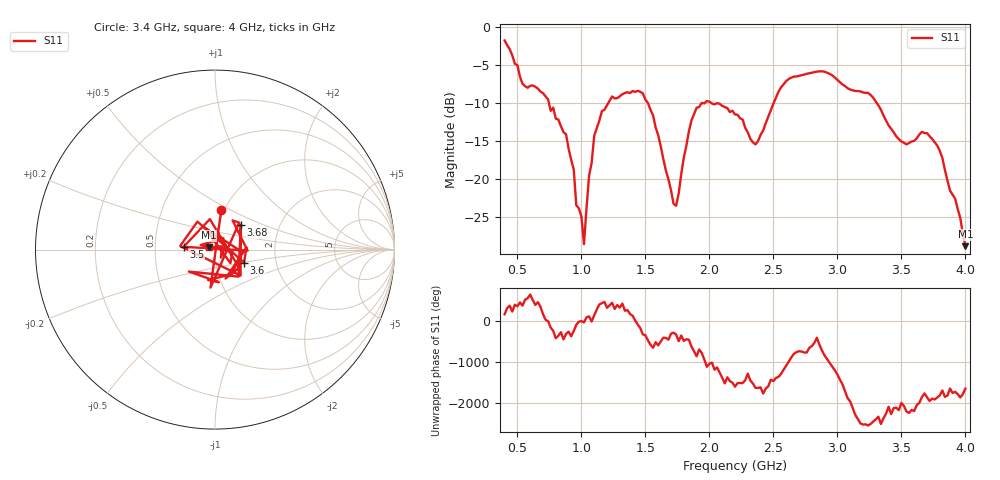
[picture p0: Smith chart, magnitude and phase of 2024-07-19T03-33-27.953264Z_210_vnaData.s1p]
!Created with skrf (http://scikit-rf.org).
# Hz S RI R 50.0
!freq ReS11 ImS11
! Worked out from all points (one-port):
!   181 points, 400 MHz to 4 GHz, reference 50 ohm
!   lowest |S11| = -28.9 dB at 4 GHz (marker M1), VSWR 1.07, Z = 46.7 + j1.13 ohm
!   |S11| at or under -10 dB: 745.6 MHz to 1.212 GHz (466.1 MHz wide, 47.6 % of centre); 2.011 GHz to 2.503 GHz (492.3 MHz wide, 21.8 % of centre); 3.306 GHz to end of sweep (the widest 3 of 4)
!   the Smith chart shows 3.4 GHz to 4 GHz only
!   S11 on the Smith chart (normalised r, x): 3.4 GHz: 0.97, +0.45; 3.5 GHz: 0.70, +0.02; 3.6 GHz: 1.37, -0.20; 3.68 GHz: 1.28, +0.37; 4 GHz: 0.93, +0.02
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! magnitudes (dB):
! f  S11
! 400 MHz  -1.8
! 540 MHz  -7.5
! 700 MHz  -8.8
! 860 MHz  -13.9
! 940 MHz  -18.8
! 960 MHz  -23.5
! 1 GHz  -25.0
! 1.02 GHz  -28.6
! 1.06 GHz  -19.6
! 1.1 GHz  -14.4
! 1.3 GHz  -9.2
! 1.48 GHz  -8.8
! 1.56 GHz  -11.7
! 1.72 GHz  -23.3
! 1.76 GHz  -22.0
! 1.9 GHz  -10.7
! 2.2 GHz  -11.5
! 2.36 GHz  -15.5
! 2.66 GHz  -6.6
! 3.1 GHz  -8.3
! 3.26 GHz  -9.0
! 3.4 GHz  -13.0
! 3.5 GHz  -15.1
! 3.56 GHz  -15.3
! 3.6 GHz  -15.0
! 3.68 GHz  -14.0
! 3.8 GHz  -16.3
! 4 GHz  -28.9
